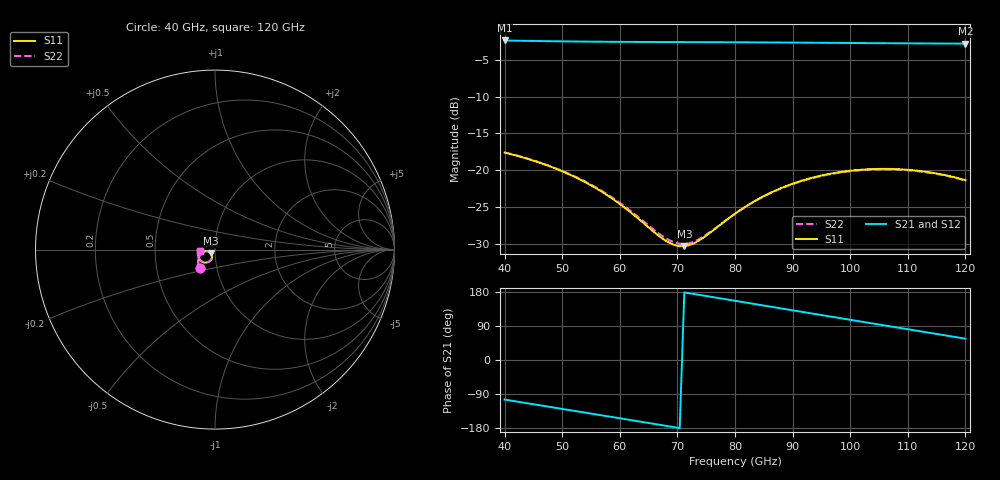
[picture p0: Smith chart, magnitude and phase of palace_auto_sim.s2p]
#  GHZ S DB R 50
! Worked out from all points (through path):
!   101 points, 40 GHz to 120 GHz, reference 50 ohm
!   highest |S21| = -2.33 dB at 40 GHz (marker M1); lowest = -2.8 dB at 120 GHz (marker M2)
!   group delay of S21, straight-line fit = 6.93 ps
!   lowest |S11| = -30.4 dB at 71.2 GHz (marker M3), VSWR 1.06, Z = 47.8 - j1.99 ohm
!   |S11| at or under -10 dB: start of sweep to end of sweep
!   |S22| runs from -30.1 to -17.6 dB; largest |S21 - S12| = 8.8e-14
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40  -17.61 -130.3  -2.33 -104.4  -2.33 -104.4  -17.58 -130.3
46.4  -19.07 -146.7  -2.41 -120.2  -2.41 -120.2  -19.03 -146.6
53.6  -21.48 -161.9  -2.48 -138.0  -2.48 -138.0  -21.40 -161.7
57.6  -23.30 -167.8  -2.50 -147.8  -2.50 -147.8  -23.18 -167.5
60.8  -25.08 -169.8  -2.52 -155.8  -2.52 -155.8  -24.91 -169.6
67.2  -29.21 -158.9  -2.54 -171.7  -2.54 -171.7  -28.88 -159.5
69.6  -30.23 -146.6  -2.54 -177.7  -2.54 -177.7  -29.89 -148.0
71.2  -30.36 -136.8  -2.55 178.3  -2.55 178.3  -30.06 -138.8
72.8  -30.00 -127.6  -2.55 174.3  -2.55 174.3  -29.76 -129.9
74.4  -29.26 -120.1  -2.56 170.3  -2.56 170.3  -29.11 -122.6
80  -25.94 -109.6  -2.57 156.3  -2.57 156.3  -25.95 -111.7
83.2  -24.31 -110.6  -2.59 148.3  -2.59 148.3  -24.36 -112.4
86.4  -23.00 -113.8  -2.60 140.2  -2.60 140.2  -23.06 -115.5
89.6  -21.96 -118.5  -2.61 132.2  -2.61 132.2  -22.02 -120.0
93.6  -21.00 -125.4  -2.64 122.1  -2.64 122.1  -21.06 -126.8
97.6  -20.34 -132.9  -2.66 112.1  -2.66 112.1  -20.41 -134.2
100.8  -20.02 -139.2  -2.67 104.1  -2.67 104.1  -20.08 -140.4
104  -19.85 -145.5  -2.69 96.1  -2.69 96.1  -19.92 -146.7
107.2  -19.84 -151.9  -2.71 88.2  -2.71 88.2  -19.90 -153.1
110.4  -19.98 -158.1  -2.72 80.2  -2.72 80.2  -20.05 -159.3
113.6  -20.28 -164.2  -2.73 72.2  -2.73 72.2  -20.34 -165.4
120  -21.37 -175.4  -2.75 56.3  -2.75 56.3  -21.43 -176.6
